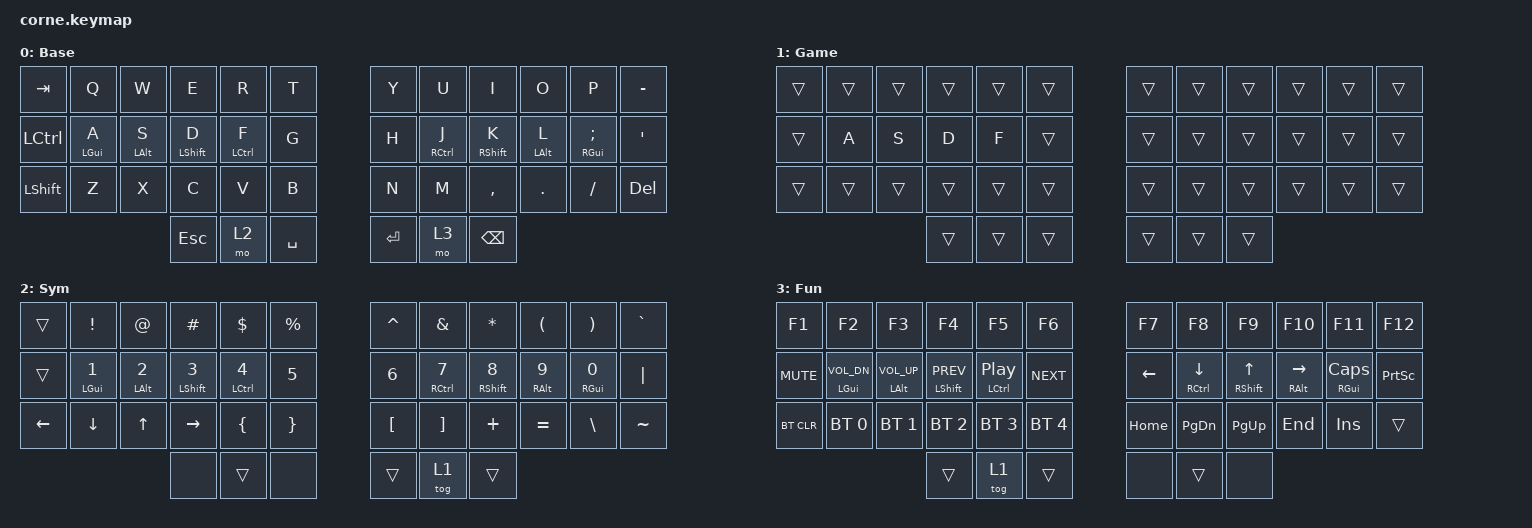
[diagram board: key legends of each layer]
/*
* Copyright (c) 2020 The ZMK Contributors
*
* SPDX-License-Identifier: MIT
*/

#include <behaviors.dtsi>
#include <dt-bindings/zmk/bt.h>
#include <dt-bindings/zmk/keys.h>

/ {
    behaviors {
        hm: homerow-mod {
            compatible = "zmk,behavior-hold-tap";
            label = "Homerow Mod";
            bindings = <&kp>, <&kp>;

            #binding-cells = <2>;
            tapping-term-ms = <200>;
            quick-tap-ms = <200>;
            flavor = "balanced";
        };
    };

    keymap {
        compatible = "zmk,keymap";

        default-layer {
            display-name = "Base";
            bindings = <
&kp TAB    &kp Q       &kp W       &kp E        &kp R        &kp T        &kp Y    &kp U        &kp I        &kp O       &kp P          &kp MINUS
&kp LCTRL  &hm LGUI A  &hm LALT S  &hm LSHFT D  &hm LCTRL F  &kp G        &kp H    &hm RCTRL J  &hm RSHFT K  &hm LALT L  &hm RGUI SEMI  &kp SQT
&kp LSHFT  &kp Z       &kp X       &kp C        &kp V        &kp B        &kp N    &kp M        &kp COMMA    &kp DOT     &kp FSLH       &kp DEL
                                   &kp ESC      &mo 2        &kp SPACE    &kp RET  &mo 3        &kp BSPC
            >;
        };

        game-layer {
            display-name = "Game";
            bindings = <
&trans  &trans  &trans  &trans  &trans  &trans    &trans  &trans  &trans  &trans  &trans  &trans
&trans  &kp A   &kp S   &kp D   &kp F   &trans    &trans  &trans  &trans  &trans  &trans  &trans
&trans  &trans  &trans  &trans  &trans  &trans    &trans  &trans  &trans  &trans  &trans  &trans
                        &trans  &trans  &trans    &trans  &trans  &trans
            >;
        };

        symbol-layer {
            display-name = "Sym";
            bindings = <
&trans    &kp EXCL     &kp AT       &kp POUND     &kp DOLLAR    &kp PRCNT    &kp CARET  &kp AMPS      &kp ASTRK     &kp LPAR     &kp RPAR     &kp GRAVE
&trans    &hm LGUI N1  &hm LALT N2  &hm LSHFT N3  &hm LCTRL N4  &kp N5       &kp N6     &hm RCTRL N7  &hm RSHFT N8  &hm RALT N9  &hm RGUI N0  &kp PIPE
&kp LEFT  &kp DOWN     &kp UP       &kp RIGHT     &kp LBRC      &kp RBRC     &kp LBKT   &kp RBKT      &kp PLUS      &kp EQUAL    &kp BSLH     &kp TILDE
                                    &none         &trans        &none        &trans     &tog 1        &trans
            >;
        };

        function-layer {
            display-name = "Fun";
            bindings = <
&kp F1      &kp F2             &kp F3             &kp F4            &kp F5          &kp F6          &kp F7    &kp F8          &kp F9        &kp F10         &kp F11        &kp F12
&kp C_MUTE  &hm LGUI C_VOL_DN  &hm LALT C_VOL_UP  &hm LSHFT C_PREV  &hm LCTRL C_PP  &kp C_NEXT      &kp LEFT  &hm RCTRL DOWN  &hm RSHFT UP  &hm RALT RIGHT  &hm RGUI CAPS  &kp PRINTSCREEN
&bt BT_CLR  &bt BT_SEL 0       &bt BT_SEL 1       &bt BT_SEL 2      &bt BT_SEL 3    &bt BT_SEL 4    &kp HOME  &kp PG_DN       &kp PG_UP     &kp END         &kp INSERT     &trans
                                                  &trans            &tog 1          &trans          &none     &trans          &none
            >;
        };
    };
};
